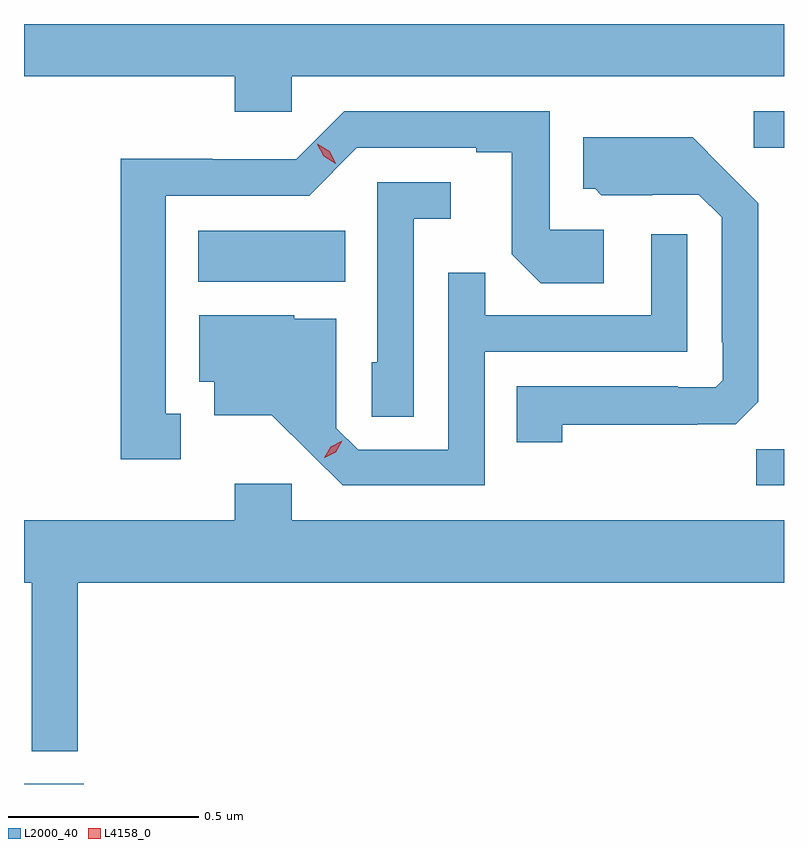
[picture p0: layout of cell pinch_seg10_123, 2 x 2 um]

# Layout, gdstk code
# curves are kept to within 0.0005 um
import gdstk
lib = gdstk.Library(unit=1e-6, precision=1e-09)
def R(c, l, rs):  # rectangles x0, y0, x1, y1
    for r in rs: c.add(gdstk.rectangle(r[:2], r[2:], *l))
def P(c, l, *ps):  # polygons
    for p in ps: c.add(gdstk.Polygon(p, *l))
L2000_40 = (2000, 40)
L4158_0 = (4158, 0)

pinch_seg10_123 = lib.new_cell('pinch_seg10_123')
R(pinch_seg10_123, L2000_40, [(717.441,1281.138,717.598,1281.139), (719.368,1281.924,719.441,1282.019), (717.899,1282.46,718.286,1282.594), (719.361,1282.812,719.441,1282.908)])
P(pinch_seg10_123, L2000_40, [(719.441,1283.138),(717.441,1283.138),(717.441,1283),(717.995,1283),(717.995,1282.907),(718.146,1282.907),(718.146,1283),(719.441,1283)],
  [(717.853,1282.113),(717.814,1282.113),(717.814,1282.686),(718.191,1282.686),(718.317,1282.812),(718.631,1282.812),(718.631,1282.8),(718.725,1282.8),(718.725,1282.532),(718.801,1282.456),(718.966,1282.456),(718.966,1282.596),(718.824,1282.596),(718.824,1282.908),(718.284,1282.908),(718.158,1282.782),(717.936,1282.782),(717.936,1282.784),(717.696,1282.784),(717.696,1281.993),(717.853,1281.993)],
  [(718.857,1282.084),(719.213,1282.084),(719.213,1282.085),(719.314,1282.085),(719.373,1282.144),(719.373,1282.666),(719.201,1282.84),(718.913,1282.84),(718.913,1282.704),(718.944,1282.704),(718.96,1282.688),(719.094,1282.688),(719.094,1282.689),(719.217,1282.689),(719.277,1282.629),(719.277,1282.3),(719.28,1282.3),(719.28,1282.2),(719.262,1282.182),(719.162,1282.182),(719.162,1282.185),(718.738,1282.185),(718.738,1282.038),(718.857,1282.038)],
  [(718.467,1282.625),(718.564,1282.625),(718.564,1282.722),(718.371,1282.722),(718.371,1282.248),(718.356,1282.248),(718.356,1282.105),(718.467,1282.105)],
  [(718.653,1282.275),(719.187,1282.275),(719.187,1282.585),(719.091,1282.585),(719.091,1282.371),(718.655,1282.371),(718.655,1282.484),(718.557,1282.484),(718.557,1282.017),(718.32,1282.017),(718.263,1282.074),(718.263,1282.363),(718.152,1282.363),(718.152,1282.372),(717.902,1282.372),(717.902,1282.196),(717.941,1282.196),(717.941,1282.109),(718.093,1282.109),(718.28,1281.924),(718.653,1281.924)],
  [(717.583,1281.668),(719.441,1281.668),(719.441,1281.832),(718.146,1281.832),(718.146,1281.928),(717.995,1281.928),(717.995,1281.832),(717.441,1281.832),(717.441,1281.668),(717.461,1281.668),(717.461,1281.224),(717.583,1281.224)])
P(pinch_seg10_123, L4158_0, [(718.231,1281.996),(718.231,1281.996),(718.248,1282.026),(718.279,1282.041),(718.279,1282.041),(718.279,1282.041),(718.262,1282.011),(718.232,1281.996)],
  [(718.262,1282.77),(718.23,1282.79),(718.213,1282.822),(718.213,1282.823),(718.213,1282.823),(718.245,1282.803),(718.262,1282.77),(718.262,1282.77)])

lib.write_gds('pinch_seg10_123.gds')
